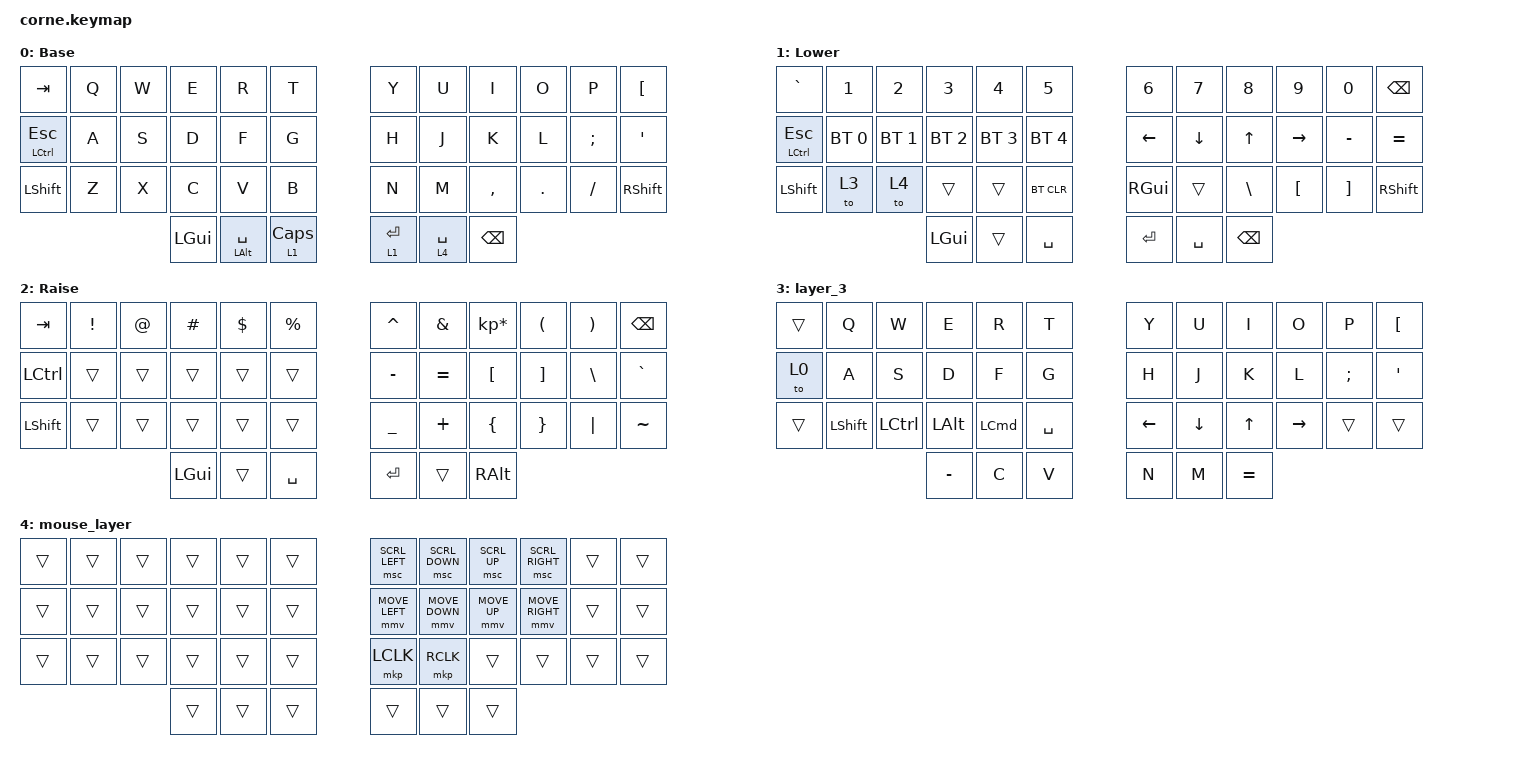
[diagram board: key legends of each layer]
/*
 * Copyright (c) 2020 The ZMK Contributors
 *
 * SPDX-License-Identifier: MIT
 */

#define ZMK_POINTING_DEFAULT_MOVE_VAL 1500

#include <behaviors.dtsi>
#include <dt-bindings/zmk/bt.h>
#include <dt-bindings/zmk/keys.h>
#include <dt-bindings/zmk/pointing.h>

/ {
    macros {
        esc_ctrl: esc_ctrl {
            compatible = "zmk,behavior-macro";
            #binding-cells = <0>;
            bindings =
                <&macro_press>,
                <&kp LEFT_CONTROL>,
                <&macro_tap>,
                <&kp ESC>,
                <&macro_release>,
                <&kp LEFT_CONTROL>;

            label = "ESC_CTRL";
        };

        enter_layer: enter_layer {
            compatible = "zmk,behavior-macro";
            #binding-cells = <0>;
            bindings =
                <&macro_press>,
                <&mo 1>,
                <&macro_tap>,
                <&kp ENTER>,
                <&macro_release>,
                <&mo 1>;

            label = "ENTER_LAYER";
        };
    };

    combos {
        compatible = "zmk,combos";

        layer1 {
            bindings = <&mo 1>;
            key-positions = <36 37 24 40>;
        };
    };

    keymap {
        compatible = "zmk,keymap";

        default_layer {
            // -----------------------------------------------------------------------------------------
            // |  TAB |  Q  |  W  |  E  |  R  |  T  |   |  Y  |  U   |  I  |  O  |  P  | BKSP |
            // | CTRL |  A  |  S  |  D  |  F  |  G  |   |  H  |  J   |  K  |  L  |  ;  |  '   |
            // | SHFT |  Z  |  X  |  C  |  V  |  B  |   |  N  |  M   |  ,  |  .  |  /  | ESC  |
            //                    | GUI | LWR | SPC |   | ENT | RSE  | ALT |

            display-name = "Base";
            bindings = <
&kp TAB        &kp Q  &kp W  &kp E     &kp R               &kp T         &kp Y        &kp U        &kp I          &kp O    &kp P          &kp LEFT_BRACKET
&mt LCTRL ESC  &kp A  &kp S  &kp D     &kp F               &kp G         &kp H        &kp J        &kp K          &kp L    &kp SEMICOLON  &kp SQT
&kp LSHFT      &kp Z  &kp X  &kp C     &kp V               &kp B         &kp N        &kp M        &kp COMMA      &kp DOT  &kp FSLH       &kp RSHIFT
                             &kp LGUI  &mt LEFT_ALT SPACE  &lt 1 CAPS    &lt 1 ENTER  &lt 4 SPACE  &kp BACKSPACE
            >;
        };

        lower_layer {
            // -----------------------------------------------------------------------------------------
            // |  TAB |  1  |  2  |  3  |  4  |  5  |   |  6  |  7  |  8  |  9  |  0  | BKSP |
            // | BTCLR| BT1 | BT2 | BT3 | BT4 | BT5 |   | LFT | DWN |  UP | RGT |     |      |
            // | SHFT |     |     |     |     |     |   |     |     |     |     |     |      |
            //                    | GUI |     | SPC |   | ENT |     | ALT |

            display-name = "Lower";
            bindings = <
&kp GRAVE                &kp N1        &kp N2        &kp N3        &kp N4        &kp N5          &kp N6    &kp N7     &kp N8         &kp N9            &kp N0             &kp BSPC
&mt LEFT_CONTROL ESCAPE  &bt BT_SEL 0  &bt BT_SEL 1  &bt BT_SEL 2  &bt BT_SEL 3  &bt BT_SEL 4    &kp LEFT  &kp DOWN   &kp UP         &kp RIGHT         &kp MINUS          &kp EQUAL
&kp LSHFT                &to 3         &to 4         &trans        &trans        &bt BT_CLR      &kp RGUI  &trans     &kp BACKSLASH  &kp LEFT_BRACKET  &kp RIGHT_BRACKET  &kp RIGHT_SHIFT
                                                     &kp LGUI      &trans        &kp SPACE       &kp RET   &kp SPACE  &kp BACKSPACE
            >;
        };

        raise_layer {
            // -----------------------------------------------------------------------------------------
            // |  TAB |  !  |  @  |  #  |  $  |  %  |   |  ^  |  &  |  *  |  (  |  )  | BKSP |
            // | CTRL |     |     |     |     |     |   |  -  |  =  |  [  |  ]  |  \  |  `   |
            // | SHFT |     |     |     |     |     |   |  _  |  +  |  {  |  }  | "|" |  ~   |
            //                    | GUI |     | SPC |   | ENT |     | ALT |

            display-name = "Raise";
            bindings = <
&kp TAB    &kp EXCL  &kp AT  &kp HASH  &kp DLLR  &kp PRCNT    &kp CARET  &kp AMPS   &kp KP_MULTIPLY  &kp LPAR  &kp RPAR  &kp BSPC
&kp LCTRL  &trans    &trans  &trans    &trans    &trans       &kp MINUS  &kp EQUAL  &kp LBKT         &kp RBKT  &kp BSLH  &kp GRAVE
&kp LSHFT  &trans    &trans  &trans    &trans    &trans       &kp UNDER  &kp PLUS   &kp LBRC         &kp RBRC  &kp PIPE  &kp TILDE
                             &kp LGUI  &trans    &kp SPACE    &kp RET    &trans     &kp RALT
            >;
        };

        layer_3 {
            bindings = <
&trans  &kp Q           &kp W             &kp E         &kp R             &kp T        &kp Y           &kp U     &kp I         &kp O      &kp P          &kp LEFT_BRACKET
&to 0   &kp A           &kp S             &kp D         &kp F             &kp G        &kp H           &kp J     &kp K         &kp L      &kp SEMICOLON  &kp SQT
&trans  &kp LEFT_SHIFT  &kp LEFT_CONTROL  &kp LEFT_ALT  &kp LEFT_COMMAND  &kp SPACE    &kp LEFT_ARROW  &kp DOWN  &kp UP_ARROW  &kp RIGHT  &trans         &trans
                                          &kp MINUS     &kp C             &kp V        &kp N           &kp M     &kp EQUAL
            >;
        };

        mouse_layer {
            bindings = <
&trans  &trans  &trans  &trans  &trans  &trans    &msc SCRL_LEFT  &msc SCRL_DOWN  &msc SCRL_UP  &msc SCRL_RIGHT  &trans  &trans
&trans  &trans  &trans  &trans  &trans  &trans    &mmv MOVE_LEFT  &mmv MOVE_DOWN  &mmv MOVE_UP  &mmv MOVE_RIGHT  &trans  &trans
&trans  &trans  &trans  &trans  &trans  &trans    &mkp LCLK       &mkp RCLK       &trans        &trans           &trans  &trans
                        &trans  &trans  &trans    &trans          &trans          &trans
            >;
        };
    };
};
